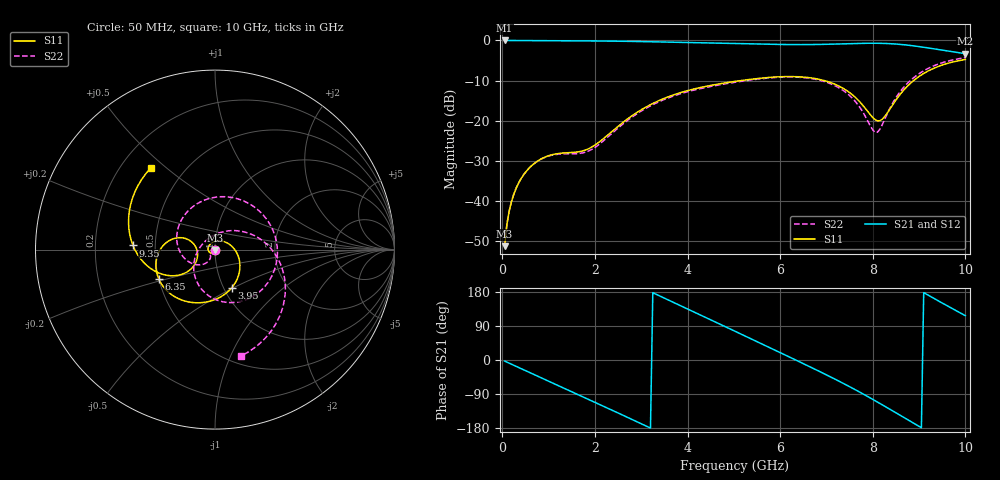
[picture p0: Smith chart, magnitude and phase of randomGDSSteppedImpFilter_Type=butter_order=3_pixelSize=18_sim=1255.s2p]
! freq	dB(S11)	phase(S11)	dB(S12)	phase(S12)
!  dB(S21)	phase(S21)	dB(S22)	phase(S22)
!S-par simulation data
#  GHz  S  DB  R 50
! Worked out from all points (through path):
!   200 points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, 50 MHz to 10 GHz, reference 50 ohm
!   highest |S21| = -0.01 dB at 50 MHz (marker M1); lowest = -3.3 dB at 10 GHz (marker M2)
!   group delay of S21, straight-line fit = 165 ps
!   lowest |S11| = -51.3 dB at 50 MHz (marker M3), VSWR 1.01, Z = 50.1 - j0.264 ohm
!   |S11| at or under -10 dB: start of sweep to 5.159 GHz; 6.949 GHz to 8.883 GHz (1.934 GHz wide, 24.4 % of centre)
!   |S22| runs from -51.2 to -4.3 dB; largest |S21 - S12| = 0
!   S11 on the Smith chart (normalised r, x): 50 MHz: 1.00, -0.01; 3.95 GHz: 1.09, -0.49; 6.35 GHz: 0.50, -0.19; 9.35 GHz: 0.37, +0.02; 10 GHz: 0.32, +0.44
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0.05  -51.29 -74.9  -0.01 -2.8  -0.01 -2.8  -51.24 -73.9
0.1  -45.84 -87.8  -0.01 -5.6  -0.01 -5.6  -45.79 -85.5
0.2  -40.12 -100.1  -0.02 -11.2  -0.02 -11.2  -40.07 -95.5
0.5  -32.89 -124.5  -0.04 -27.8  -0.04 -27.8  -32.87 -111.7
1.15  -28.30 -177.5  -0.08 -64.0  -0.08 -64.0  -28.45 -134.1
1.75  -27.50 111.9  -0.12 -97.5  -0.12 -97.5  -28.00 -130.4
2.2  -24.34 51.5  -0.16 -122.8  -0.16 -122.8  -24.87 -118.5
2.65  -20.04 8.1  -0.22 -148.3  -0.22 -148.3  -20.43 -125.3
3.4  -14.91 -40.1  -0.38 169.0  -0.38 169.0  -15.20 -162.4
3.95  -12.68 -66.4  -0.52 137.6  -0.52 137.6  -12.95 161.2
4.5  -11.22 -88.1  -0.66 106.1  -0.66 106.1  -11.48 119.9
5.05  -10.18 -107.0  -0.80 74.5  -0.80 74.5  -10.38 75.6
5.75  -9.24 -130.5  -0.96 34.0  -0.96 34.0  -9.37 18.6
6.35  -9.04 -152.4  -1.04 -0.8  -1.04 -0.8  -9.15 -28.1
6.7  -9.41 -166.3  -1.03 -21.3  -1.03 -21.3  -9.56 -54.6
7.15  -10.77 175.5  -0.92 -48.4  -0.92 -48.4  -11.10 -89.2
7.65  -14.49 159.9  -0.75 -80.2  -0.75 -80.2  -15.60 -135.3
8.05  -19.74 177.6  -0.70 -107.4  -0.70 -107.4  -22.91 138.5
8.35  -17.46 -144.9  -0.80 -128.6  -0.80 -128.6  -17.36 51.2
8.85  -10.31 -152.0  -1.31 -164.5  -1.31 -164.5  -9.61 -3.1
9.35  -6.79 177.1  -2.16 160.5  -2.16 160.5  -6.18 -39.2
10  -4.75 128.3  -3.31 116.8  -3.31 116.8  -4.29 -76.3
